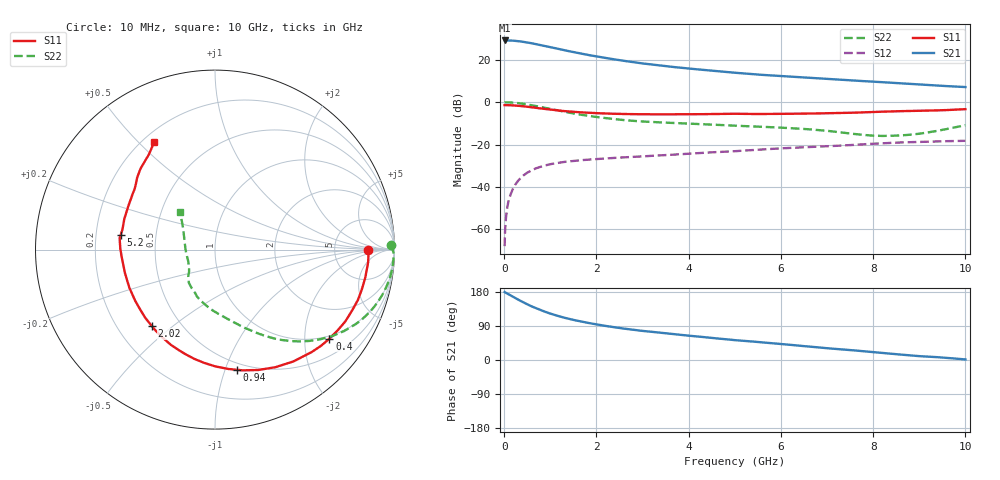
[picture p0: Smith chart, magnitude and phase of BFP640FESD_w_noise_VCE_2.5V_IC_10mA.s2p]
! Infineon Technologies  Discrete & RF Semiconductors
! BFP640FESD
! VCE =  2.5 V,  IC =  10 mA
! Common Emitter S-Parameters:  Jan 2016
# GHz  S  MA  R  50
!  f  S11  S21  S12  S22
! GHz  MAG  ANG  MAG  ANG  MAG  ANG  MAG  ANG
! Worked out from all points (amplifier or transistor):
!   233 points, 10 MHz to 10 GHz, reference 50 ohm
!   highest |S21| = 29.2 dB at 10 MHz (marker M1)
!   |S21| within 3 dB of that: start of sweep to 966 MHz
!   unconditionally stable (mu >= 1): 5.121 GHz to end of sweep
!   at 200 MHz: K = 0.05, MSG = 34.8 dB, |S12| = -40.4 dB
!   at 1.74 GHz: K = 0.49, MSG = 25.0 dB, |S12| = -27.3 dB
!   at 10 GHz: K = 1.13, MAG = 10.5 dB, |S12| = -18.2 dB
!   lowest NFmin = 0.67 dB at 450 MHz
!   S11 on the Smith chart (normalised r, x): 10 MHz: 13, -0; 400 MHz: 0.92, -2.63; 940 MHz: 0.44, -1.10; 2.02 GHz: 0.35, -0.42; 5.2 GHz: 0.31, +0.07; 10 GHz: 0.25, +0.56
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0.01  0.8535 -0.3  28.79 179.5  0.0004 86.1  0.981 1.4
0.06  0.8549 -5.7  28.62 175.7  0.0029 87.0  0.9953 -3.4
0.1  0.8526 -9.8  28.71 173.4  0.0049 85.1  0.9939 -5.8
0.2  0.8443 -19.4  28.43 166.4  0.0095 80.2  0.9791 -11.7
0.3  0.8289 -28.9  27.75 159.6  0.0139 75.3  0.9555 -17.3
0.4  0.8081 -37.9  26.86 153.2  0.018 71.0  0.9247 -22.7
0.5  0.7848 -46.7  25.82 147.1  0.0217 66.8  0.889 -27.7
0.66  0.7444 -59.7  23.95 138.2  0.0266 61.1  0.8255 -34.8
0.8  0.7128 -70.2  22.27 131.2  0.0303 56.9  0.7706 -40.4
0.94  0.6808 -79.7  20.67 125.1  0.0333 53.2  0.7171 -45.3
1.1  0.6512 -89.7  18.95 118.7  0.0361 49.9  0.6602 -50.5
1.3  0.6194 -100.8  17.02 111.7  0.039 46.7  0.5978 -56.1
1.68  0.5765 -118.0  14.02 101.1  0.0429 42.8  0.5047 -64.9
2.02  0.5524 -129.7  11.98 93.6  0.0457 41.0  0.447 -71.5
2.6  0.5289 -146.8  9.499 82.8  0.05 39.3  0.379 -82.3
3.4  0.5181 -163.4  7.318 71.8  0.0558 39.3  0.3341 -93.6
4  0.5197 -173.1  6.251 64.2  0.0609 39.7  0.3137 -99.4
5.1  0.5333 172.1  4.88 51.5  0.0711 38.9  0.2769 -111.7
5.2  0.5316 171.0  4.783 50.6  0.0722 39.1  0.2743 -112.3
6.8  0.5449 150.3  3.663 33.4  0.0894 35.3  0.2208 -132.0
8.4  0.6086 133.5  2.886 16.4  0.1103 29.9  0.1617 -173.3
10  0.6873 119.6  2.286 1.5  0.1229 21.1  0.2873 133.0
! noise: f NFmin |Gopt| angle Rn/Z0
0.45  0.67  0.2  5  0.1
2.4  0.75  0.1  68  0.1
5.5  0.99  0.3  160  0.07
10  1.63  0.46  -117  0.24
